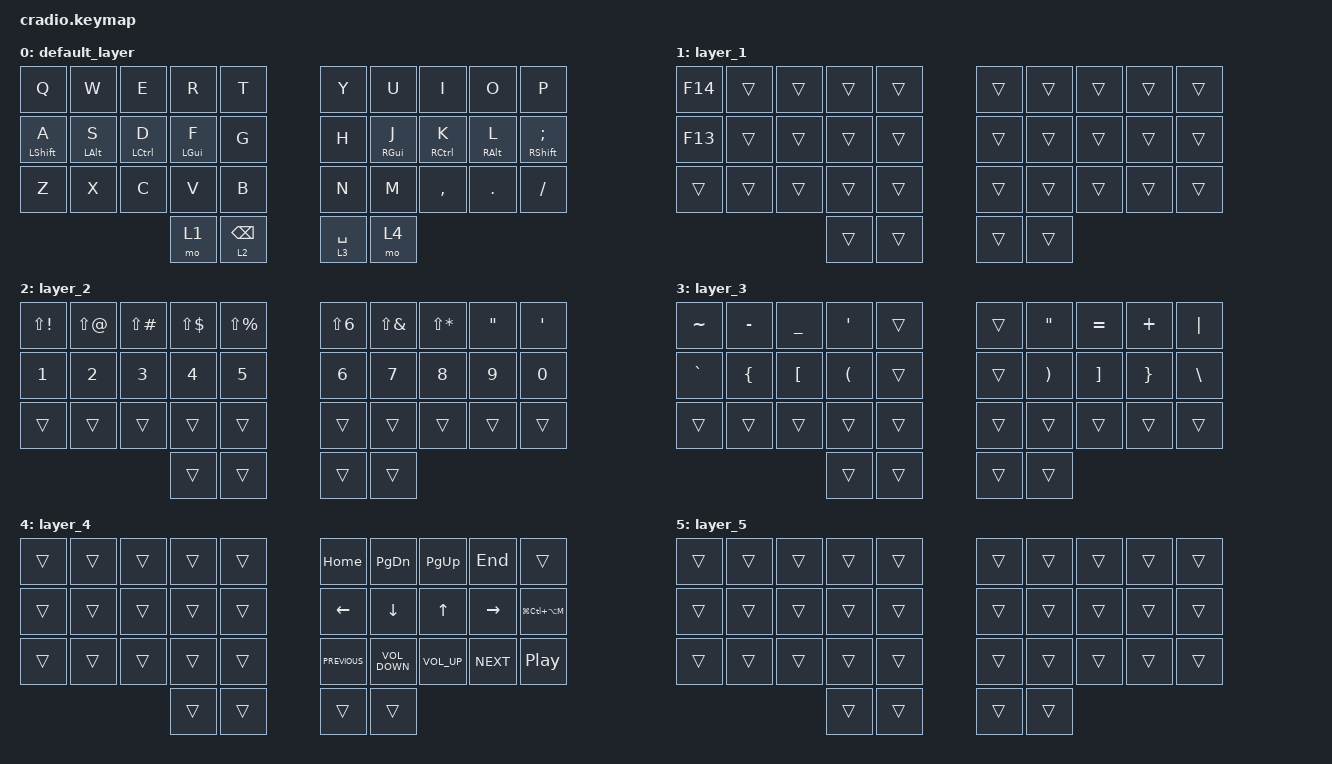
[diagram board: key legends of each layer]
// Copyright (c) 2022 The ZMK Contributors
// SPDX-License-Identifier: MIT

#include <behaviors.dtsi>
#include <dt-bindings/zmk/keys.h>

#include <dt-bindings/zmk/outputs.h>


/ {
    combos {
        compatible = "zmk,combos";

        esc_sd {
            bindings = <&kp ESCAPE>;
            key-positions = <11 12>;
        };

        tab_we {
            bindings = <&kp TAB>;
            key-positions = <1 2>;
        };

        spot_xc_command_enter {
            bindings = <&kp LG(SPACE)>;
            key-positions = <21 22>;
        };

        del_io {
            bindings = <&kp DELETE>;
            key-positions = <7 8>;
        };

        enter_kl {
            bindings = <&kp ENTER>;
            key-positions = <17 18>;
        };

        toggleMode_dot_comma {
            bindings = <&kp CAPSLOCK>;
            key-positions = <27 28>;
        };
    };

    behaviors {
        bhm: balanced_homerow_mods {
            compatible = "zmk,behavior-hold-tap";
            #binding-cells = <2>;
            tapping-term-ms = <180>;    // <---[[moderate duration]]
            quick-tap-ms = <0>;
            flavor = "balanced";
            bindings = <&kp>, <&kp>;
        };

        hm: homerow_mods {
            compatible = "zmk,behavior-hold-tap";
            #binding-cells = <2>;
            tapping-term-ms = <150>;
            quick-tap-ms = <0>;
            flavor = "tap-preferred";
            bindings = <&kp>, <&kp>;
        };
    };

    macros {
        alt_number: alt_number {
            compatible = "zmk,behavior-macro-one-param";
            #binding-cells = <1>;
            bindings =
                <&macro_press &kp LEFT_ALT>,
                <&macro_wait_time 20>,
                <&macro_tap &macro_param_1to1 &kp MACRO_PLACEHOLDER>,
                <&macro_release &kp LALT>;

            label = "ALT_NUMBER";
        };
    };

    keymap {
        compatible = "zmk,keymap";

        default_layer {
            bindings = <
&kp Q              &kp W            &kp E                &kp R              &kp T              &kp Y        &kp U        &kp I         &kp O        &kp P
&bhm LEFT_SHIFT A  &bhm LEFT_ALT S  &bhm LEFT_CONTROL D  &bhm LGUI F        &kp G              &kp H        &bhm RGUI J  &bhm RCTRL K  &bhm RALT L  &bhm RSHFT SEMICOLON
&kp Z              &kp X            &kp C                &kp V              &kp B              &kp N        &kp M        &kp COMMA     &kp DOT      &kp FSLH
                                                         &mo 1              &lt 2 BACKSPACE    &lt 3 SPACE  &mo 4
            >;
        };

        layer_1 {
            bindings = <
&kp F14     &trans      &trans      &trans      &trans    &trans       &trans  &trans  &trans  &trans
&kp F13     &trans      &trans                &trans            &trans              &trans  &trans  &trans  &trans  &trans
&trans      &trans      &trans                &trans            &trans              &trans  &trans  &trans  &trans  &trans
                                                                  &trans            &trans              &trans  &trans
            >;
        };

        layer_2 {
            bindings = <
&kp LS(EXCL)  &kp LS(AT)  &kp LS(POUND)  &kp LS(DLLR)  &kp LS(PRCNT)    &kp LS(NUMBER_6)  &kp LS(AMPS)  &kp LS(STAR)  &kp DOUBLE_QUOTES  &kp SINGLE_QUOTE
&kp N1        &kp N2      &kp N3         &kp N4        &kp N5           &kp N6            &kp N7        &kp N8        &kp N9             &kp N0
&trans        &trans      &trans         &trans        &trans           &trans            &trans        &trans        &trans             &trans
                                         &trans        &trans           &trans            &trans
            >;
        };

        layer_3 {
            bindings = <
&kp TILDE  &kp MINUS       &kp UNDER         &kp SQT               &trans    &trans  &kp DOUBLE_QUOTES      &kp EQUAL          &kp PLUS         &kp PIPE
&kp GRAVE  &kp LEFT_BRACE  &kp LEFT_BRACKET  &kp LEFT_PARENTHESIS  &trans    &trans  &kp RIGHT_PARENTHESIS  &kp RIGHT_BRACKET  &kp RIGHT_BRACE  &kp BACKSLASH
&trans     &trans          &trans            &trans                &trans    &trans  &trans                 &trans             &trans           &trans
                                             &trans                &trans    &trans  &trans
            >;
        };

        layer_4 {
            bindings = <
&trans  &trans  &trans  &trans  &trans    &kp HOME        &kp PAGE_DOWN      &kp PAGE_UP      &kp END     &trans
&trans  &trans  &trans  &trans  &trans    &kp LEFT        &kp DOWN           &kp UP           &kp RIGHT   &kp LG(LC(LA(M)))
&trans  &trans  &trans  &trans  &trans    &kp C_PREVIOUS  &kp C_VOLUME_DOWN  &kp C_VOLUME_UP  &kp C_NEXT  &kp C_PLAY_PAUSE
                        &trans  &trans    &trans          &trans
            >;
        };

        layer_5 {
            bindings = <
&trans  &trans  &trans  &trans  &trans    &trans  &trans  &trans  &trans  &trans
&trans  &trans  &trans  &trans  &trans    &trans  &trans  &trans  &trans  &trans
&trans  &trans  &trans  &trans  &trans    &trans  &trans  &trans  &trans  &trans
                        &trans  &trans    &trans  &trans
            >;
        };
    };
};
